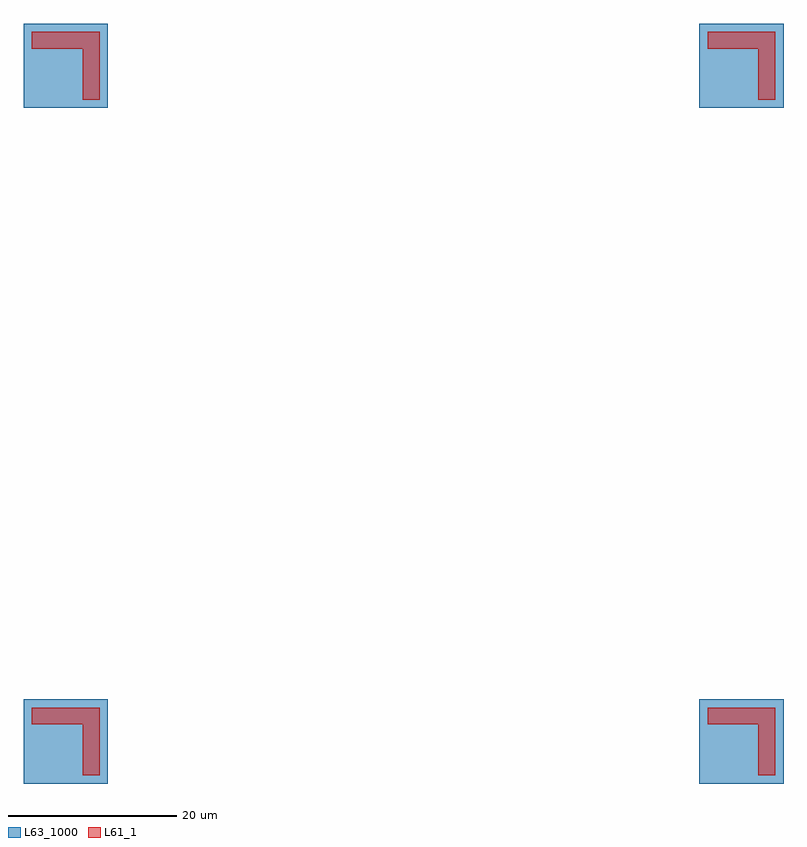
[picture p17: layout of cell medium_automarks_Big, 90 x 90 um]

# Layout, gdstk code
import gdstk
lib = gdstk.Library(unit=1e-6, precision=1e-09)
def R(c, l, rs):  # rectangles x0, y0, x1, y1
    for r in rs: c.add(gdstk.rectangle(r[:2], r[2:], *l))
L61_1 = (61, 1)
L63_1000 = (63, 1000)

medium_automarks_big = lib.new_cell('medium_automarks_Big')
R(medium_automarks_big, L63_1000, [(-45,-45,-35,-35), (35,-45,45,-35), (-45,35,-35,45), (35,35,45,45)])
medium_automarks_big.add(gdstk.FlexPath([(-37,-44),(-37,-36)], 2, ends="flush", simple_path=True, layer=61, datatype=1))  # L61_1
medium_automarks_big.add(gdstk.FlexPath([(-44,-37),(-36,-37)], 2, ends="flush", simple_path=True, layer=61, datatype=1))  # L61_1
medium_automarks_big.add(gdstk.FlexPath([(43,-44),(43,-36)], 2, ends="flush", simple_path=True, layer=61, datatype=1))  # L61_1
medium_automarks_big.add(gdstk.FlexPath([(36,-37),(44,-37)], 2, ends="flush", simple_path=True, layer=61, datatype=1))  # L61_1
medium_automarks_big.add(gdstk.FlexPath([(43,36),(43,44)], 2, ends="flush", simple_path=True, layer=61, datatype=1))  # L61_1
medium_automarks_big.add(gdstk.FlexPath([(36,43),(44,43)], 2, ends="flush", simple_path=True, layer=61, datatype=1))  # L61_1
medium_automarks_big.add(gdstk.FlexPath([(-37,36),(-37,44)], 2, ends="flush", simple_path=True, layer=61, datatype=1))  # L61_1
medium_automarks_big.add(gdstk.FlexPath([(-44,43),(-36,43)], 2, ends="flush", simple_path=True, layer=61, datatype=1))  # L61_1

lib.write_gds('medium_automarks_Big.gds')
